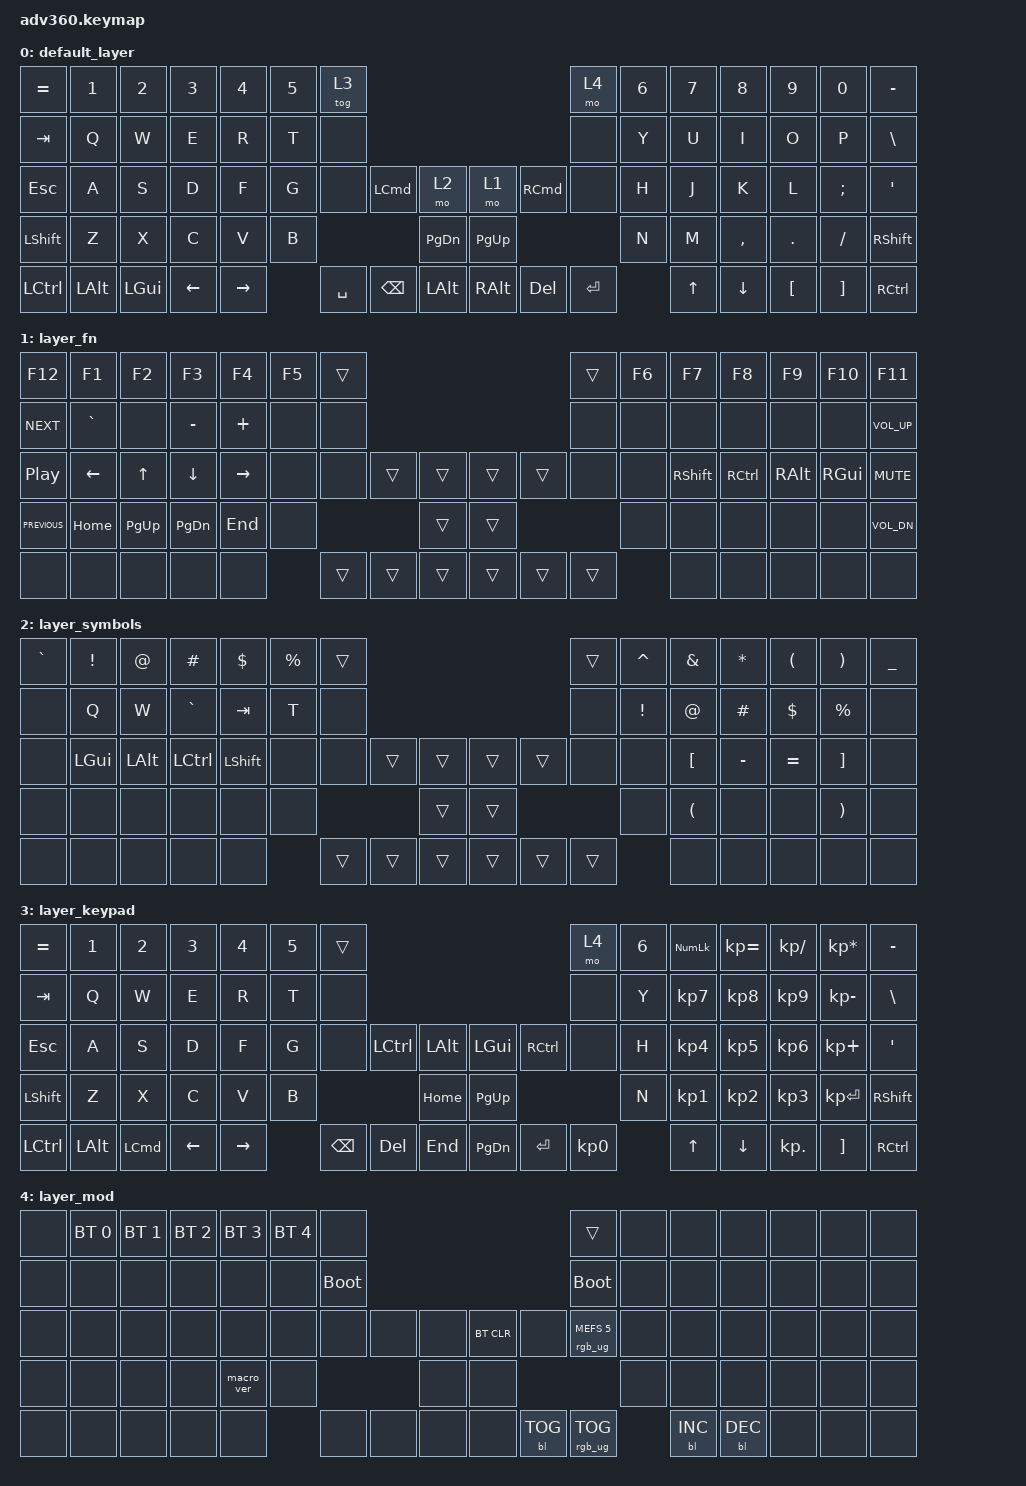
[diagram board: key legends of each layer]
/*
 * Copyright (c) 2020 The ZMK Contributors
 *
 * SPDX-License-Identifier: MIT
 */
/* THIS FILE WAS GENERATED!
 *
 * This file was generated automatically. You may or may not want to
 * edit it directly.
 */

#include <behaviors.dtsi>
#include <dt-bindings/zmk/backlight.h>
#include <dt-bindings/zmk/bt.h>
#include <dt-bindings/zmk/keys.h>
#include <dt-bindings/zmk/rgb.h>

/ {
    behaviors {
        #include "macros.dtsi"
    #include "version.dtsi"

        hm: homerow_mods {
            compatible = "zmk,behavior-hold-tap";
            label = "HOMEROW_MODS";
            #binding-cells = <2>;
            tapping-term-ms = <200>;
            quick_tap_ms = <175>;
            flavor = "tap-preferred";
            bindings = <&kp>, <&kp>;
        };
    };

    keymap {
        compatible = "zmk,keymap";

        default_layer {
            bindings = <
&kp EQUAL         &kp N1        &kp N2        &kp N3    &kp N4     &kp N5  &tog 3                                                                            &mo 4      &kp N6  &kp N7  &kp N8     &kp N9    &kp N0    &kp MINUS
&kp TAB           &kp Q         &kp W         &kp E     &kp R      &kp T   &none                                                                             &none      &kp Y   &kp U   &kp I      &kp O     &kp P     &kp BSLH
&kp ESC           &kp A         &kp S         &kp D     &kp F      &kp G   &none      &kp LEFT_COMMAND  &mo 2              &mo 1          &kp RIGHT_COMMAND  &none      &kp H   &kp J   &kp K      &kp L     &kp SEMI  &kp SQT
&kp LSHFT         &kp Z         &kp X         &kp C     &kp V      &kp B                                &kp PAGE_DOWN      &kp PG_UP                                    &kp N   &kp M   &kp COMMA  &kp DOT   &kp FSLH  &kp RSHFT
&kp LEFT_CONTROL  &kp LEFT_ALT  &kp LEFT_GUI  &kp LEFT  &kp RIGHT          &kp SPACE  &kp BACKSPACE     &kp LEFT_ALT       &kp RIGHT_ALT  &kp DELETE         &kp ENTER          &kp UP  &kp DOWN   &kp LBKT  &kp RBKT  &kp RIGHT_CONTROL
            >;
        };

        layer_fn {
            bindings = <
&kp F12           &kp F1     &kp F2        &kp F3          &kp F4           &kp F5  &trans                                      &trans  &kp F6  &kp F7           &kp F8             &kp F9    &kp F10        &kp F11
&kp C_NEXT        &kp GRAVE  &none         &kp MINUS       &kp PLUS         &none   &none                                       &none   &none   &none            &none              &none     &none          &kp C_VOL_UP
&kp C_PLAY_PAUSE  &kp LEFT   &kp UP_ARROW  &kp DOWN_ARROW  &kp RIGHT_ARROW  &none   &none   &trans  &trans      &trans  &trans  &none   &none   &kp RIGHT_SHIFT  &kp RIGHT_CONTROL  &kp RALT  &kp RIGHT_GUI  &kp K_MUTE
&kp C_PREVIOUS    &kp HOME   &kp PAGE_UP   &kp PAGE_DOWN   &kp END          &none                   &trans      &trans                  &none   &none            &none              &none     &none          &kp C_VOL_DN
&none             &none      &none         &none           &none                    &trans  &trans  &trans      &trans  &trans  &trans          &none            &none              &none     &none          &none
            >;
        };

        layer_symbols {
            bindings = <
&kp GRAVE  &kp EXCLAMATION  &kp AT_SIGN   &kp POUND         &kp DOLLAR      &kp PERCENT  &trans                                      &trans  &kp CARET  &kp AMPERSAND         &kp ASTERISK  &kp LEFT_PARENTHESIS  &kp RIGHT_PARENTHESIS  &kp UNDERSCORE
&none      &kp Q            &kp W         &kp GRAVE         &kp TAB         &kp T        &none                                       &none   &kp EXCL   &kp AT                &kp POUND     &kp DOLLAR            &kp PERCENT            &none
&none      &kp LEFT_GUI     &kp LEFT_ALT  &kp LEFT_CONTROL  &kp LEFT_SHIFT  &none        &none   &trans  &trans      &trans  &trans  &none   &none      &kp LEFT_BRACKET      &kp MINUS     &kp EQUAL             &kp RIGHT_BRACKET      &none
&none      &none            &none         &none             &none           &none                        &trans      &trans                  &none      &kp LEFT_PARENTHESIS  &none         &none                 &kp RIGHT_PARENTHESIS  &none
&none      &none            &none         &none             &none                        &trans  &trans  &trans      &trans  &trans  &trans             &none                 &none         &none                 &none                  &none
            >;
        };

        layer_keypad {
            bindings = <
&kp EQUAL         &kp N1        &kp N2            &kp N3    &kp N4     &kp N5  &trans                                                   &mo 4      &kp N6  &kp KP_NUM  &kp KP_EQUAL  &kp KP_DIVIDE  &kp KP_MULTIPLY  &kp MINUS
&kp TAB           &kp Q         &kp W             &kp E     &kp R      &kp T   &none                                                    &none      &kp Y   &kp KP_N7   &kp KP_N8     &kp KP_N9      &kp KP_MINUS     &kp BSLH
&kp ESC           &kp A         &kp S             &kp D     &kp F      &kp G   &none     &kp LCTRL  &kp LALT      &kp LGUI   &kp RCTRL  &none      &kp H   &kp KP_N4   &kp KP_N5     &kp KP_N6      &kp KP_PLUS      &kp SQT
&kp LSHFT         &kp Z         &kp X             &kp C     &kp V      &kp B                        &kp HOME      &kp PG_UP                        &kp N   &kp KP_N1   &kp KP_N2     &kp KP_N3      &kp KP_ENTER     &kp RSHFT
&kp LEFT_CONTROL  &kp LEFT_ALT  &kp LEFT_COMMAND  &kp LEFT  &kp RIGHT          &kp BSPC  &kp DEL    &kp END       &kp PG_DN  &kp ENTER  &kp KP_N0          &kp UP      &kp DOWN      &kp KP_DOT     &kp RBKT         &kp RIGHT_CONTROL
            >;
        };

        layer_mod {
            bindings = <
&none  &bt BT_SEL 0  &bt BT_SEL 1  &bt BT_SEL 2  &bt BT_SEL 3  &bt BT_SEL 4  &none                                                  &trans                  &none  &none       &none       &none  &none  &none
&none  &none         &none         &none         &none         &none         &bootloader                                            &bootloader             &none  &none       &none       &none  &none  &none
&none  &none         &none         &none         &none         &none         &none        &none  &none      &bt BT_CLR  &none       &rgb_ug RGB_MEFS_CMD 5  &none  &none       &none       &none  &none  &none
&none  &none         &none         &none         &macro_ver    &none                             &none      &none                                           &none  &none       &none       &none  &none  &none
&none  &none         &none         &none         &none                       &none        &none  &none      &none       &bl BL_TOG  &rgb_ug RGB_TOG                &bl BL_INC  &bl BL_DEC  &none  &none  &none
            >;
        };
    };
};
